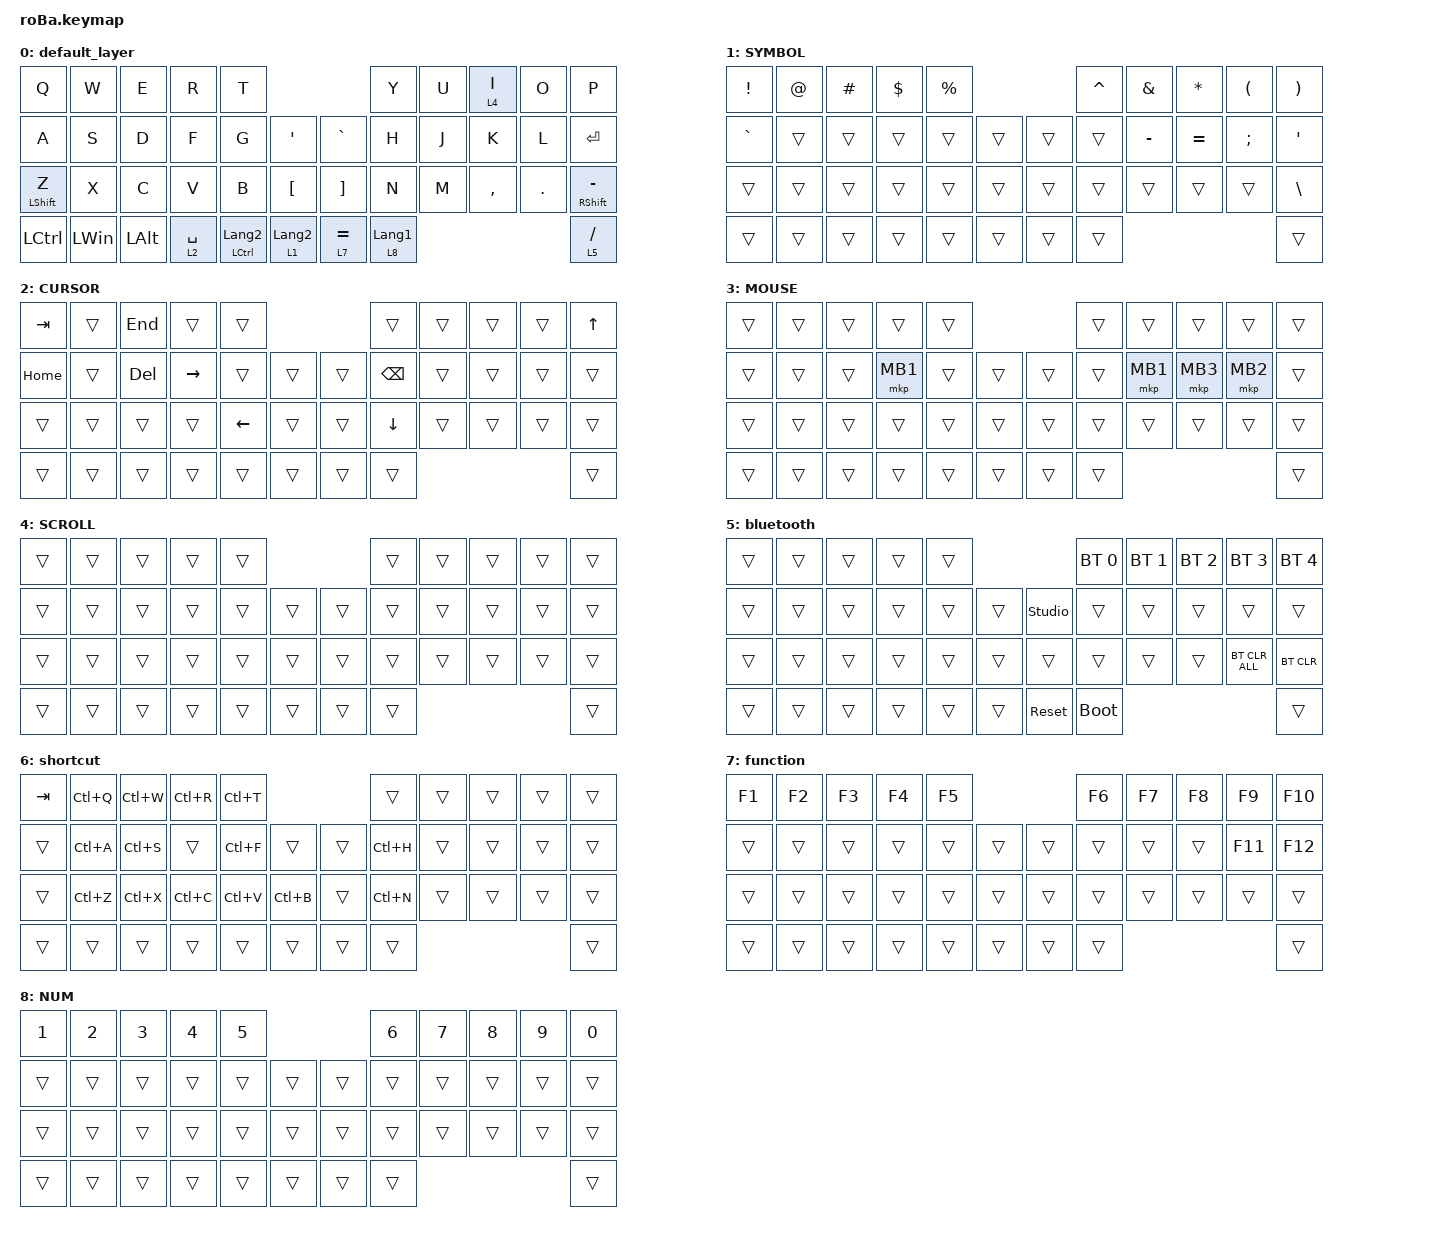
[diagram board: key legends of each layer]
#include <behaviors.dtsi>
#include <dt-bindings/zmk/bt.h>
#include <dt-bindings/zmk/keys.h>
#include <dt-bindings/zmk/pointing.h>

&mt {
    flavor = "balanced";
    quick-tap-ms = <0>;
};

&trackball {
    automouse-layer = <3>;
    scroll-layers = <2 4>;

    // arrows {
    //     layers = <3>;
    //     bindings =
    //         <&kp RIGHT_ARROW>,
    //         <&kp LEFT_ARROW>,
    //         <&kp UP_ARROW>,
    //         <&kp DOWN_ARROW>;
    //     tick = <10>;
    //     wait-ms = <5>;
    //     tap-ms = <5>;
    // };
};

/ {
    combos {
        compatible = "zmk,combos";

        escape {
            bindings = <&kp ESCAPE>;
            key-positions = <0 1>;
        };

        ctrlshift {
            bindings = <&kp LS(LEFT_CONTROL)>;
            key-positions = <10 22>;
        };
    };

    macros {
        to_layer_0: to_layer_0 {
            compatible = "zmk,behavior-macro-one-param";
            #binding-cells = <1>;
            bindings = <&to 0 &macro_param_1to1 &kp MACRO_PLACEHOLDER>;
            label = "TO_LAYER_0";
        };
    };

    behaviors {
        lt_to_layer_0: lt_to_layer_0 {
            compatible = "zmk,behavior-hold-tap";
            label = "LAYER_TAP_TO_0";
            bindings = <&mo>, <&to_layer_0>;

            #binding-cells = <2>;
            tapping-term-ms = <200>;
        };
    };

    keymap {
        compatible = "zmk,keymap";

        default_layer {
            bindings = <
&kp Q             &kp W         &kp E         &kp R        &kp T                                                                 &kp Y             &kp U  &lt 4 I    &kp O    &kp P
&kp A             &kp S         &kp D         &kp F        &kp G                        &kp SQT               &kp GRAVE          &kp H             &kp J  &kp K      &kp L    &kp ENTER
&mt LEFT_SHIFT Z  &kp X         &kp C         &kp V        &kp B                        &kp LEFT_BRACKET      &kp RIGHT_BRACKET  &kp N             &kp M  &kp COMMA  &kp DOT  &mt RSHIFT MINUS
&kp LEFT_CONTROL  &kp LEFT_WIN  &kp LEFT_ALT  &lt 2 SPACE  &mt LEFT_CONTROL LANGUAGE_2  &lt 1 LANGUAGE_2      &lt 7 EQUAL        &lt 8 LANGUAGE_1                             &lt 5 SLASH
            >;
        };

        SYMBOL {
            bindings = <
&kp EXCLAMATION  &kp AT_SIGN  &kp HASH  &kp DOLLAR  &kp PERCENT                      &kp CARET  &kp AMPERSAND  &kp ASTERISK  &kp LEFT_PARENTHESIS  &kp RPAR
&kp GRAVE        &trans       &trans    &trans      &trans       &trans      &trans  &trans     &kp MINUS      &kp EQUAL     &kp SEMICOLON         &kp SQT
&trans           &trans       &trans    &trans      &trans       &trans      &trans  &trans     &trans         &trans        &trans                &kp BACKSLASH
&trans           &trans       &trans    &trans      &trans       &trans      &trans  &trans                                                        &trans
            >;
        };

        CURSOR {
            bindings = <
&kp TAB   &trans  &kp END  &trans     &trans                        &trans         &trans  &trans  &trans  &kp UP_ARROW
&kp HOME  &trans  &kp DEL  &kp RIGHT  &trans    &trans      &trans  &kp BACKSPACE  &trans  &trans  &trans  &trans
&trans    &trans  &trans   &trans     &kp LEFT  &trans      &trans  &kp DOWN       &trans  &trans  &trans  &trans
&trans    &trans  &trans   &trans     &trans    &trans      &trans  &trans                                 &trans
            >;
        };

        MOUSE {
            bindings = <
&trans  &trans  &trans  &trans    &trans                      &trans  &trans    &trans    &trans    &trans
&trans  &trans  &trans  &mkp MB1  &trans  &trans      &trans  &trans  &mkp MB1  &mkp MB3  &mkp MB2  &trans
&trans  &trans  &trans  &trans    &trans  &trans      &trans  &trans  &trans    &trans    &trans    &trans
&trans  &trans  &trans  &trans    &trans  &trans      &trans  &trans                                &trans
            >;
        };

        SCROLL {
            bindings = <
&trans  &trans  &trans  &trans  &trans                      &trans  &trans  &trans  &trans  &trans
&trans  &trans  &trans  &trans  &trans  &trans      &trans  &trans  &trans  &trans  &trans  &trans
&trans  &trans  &trans  &trans  &trans  &trans      &trans  &trans  &trans  &trans  &trans  &trans
&trans  &trans  &trans  &trans  &trans  &trans      &trans  &trans                          &trans
            >;
        };

        bluetooth {
            bindings = <
&trans  &trans  &trans  &trans  &trans                              &bt BT_SEL 0  &bt BT_SEL 1  &bt BT_SEL 2  &bt BT_SEL 3    &bt BT_SEL 4
&trans  &trans  &trans  &trans  &trans  &trans      &studio_unlock  &trans        &trans        &trans        &trans          &trans
&trans  &trans  &trans  &trans  &trans  &trans      &trans          &trans        &trans        &trans        &bt BT_CLR_ALL  &bt BT_CLR
&trans  &trans  &trans  &trans  &trans  &trans      &sys_reset      &bootloader                                               &trans
            >;
        };

        shortcut {
            bindings = <
&kp TAB  &kp LC(Q)  &kp LC(W)  &kp LC(R)  &kp LC(T)                         &trans     &trans  &trans  &trans  &trans
&trans   &kp LC(A)  &kp LC(S)  &trans     &kp LC(F)  &trans         &trans  &kp LC(H)  &trans  &trans  &trans  &trans
&trans   &kp LC(Z)  &kp LC(X)  &kp LC(C)  &kp LC(V)  &kp LC(B)      &trans  &kp LC(N)  &trans  &trans  &trans  &trans
&trans   &trans     &trans     &trans     &trans     &trans         &trans  &trans                             &trans
            >;
        };

        function {
            bindings = <
&kp F1  &kp F2  &kp F3  &kp F4  &kp F5                      &kp F6  &kp F7  &kp F8  &kp F9   &kp F10
&trans  &trans  &trans  &trans  &trans  &trans      &trans  &trans  &trans  &trans  &kp F11  &kp F12
&trans  &trans  &trans  &trans  &trans  &trans      &trans  &trans  &trans  &trans  &trans   &trans
&trans  &trans  &trans  &trans  &trans  &trans      &trans  &trans                           &trans
            >;
        };

        NUM {
            bindings = <
&kp N1  &kp N2  &kp N3  &kp N4  &kp N5                      &kp N6  &kp N7  &kp N8  &kp N9  &kp N0
&trans  &trans  &trans  &trans  &trans  &trans      &trans  &trans  &trans  &trans  &trans  &trans
&trans  &trans  &trans  &trans  &trans  &trans      &trans  &trans  &trans  &trans  &trans  &trans
&trans  &trans  &trans  &trans  &trans  &trans      &trans  &trans                          &trans
            >;
        };
    };
};
